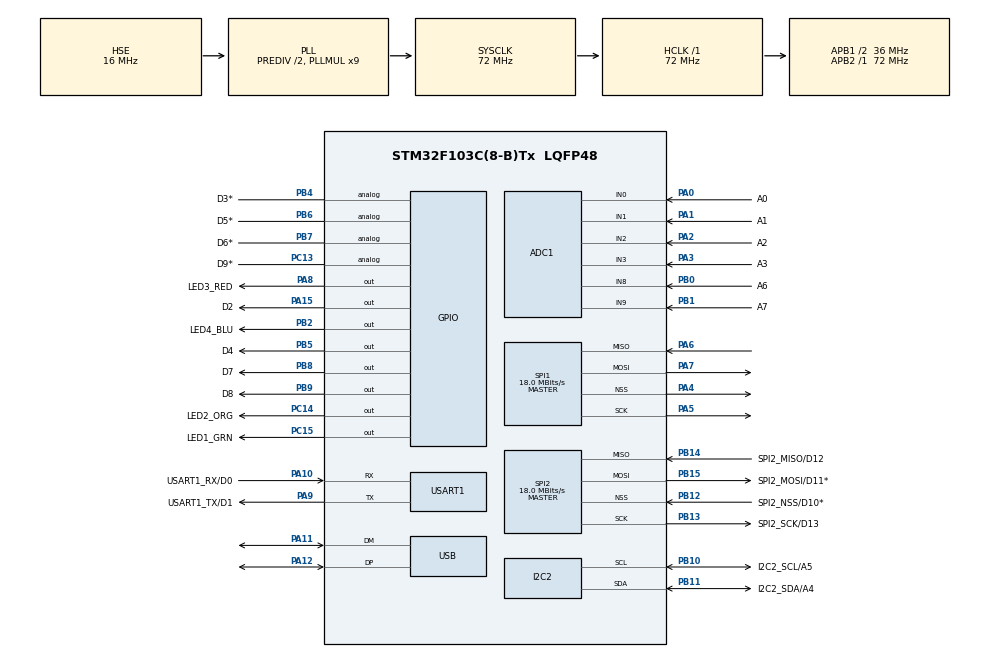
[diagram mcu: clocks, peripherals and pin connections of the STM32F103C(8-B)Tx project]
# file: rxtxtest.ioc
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ADC1.Channel-3\#ChannelRegularConversion=ADC_CHANNEL_0
ADC1.NbrOfConversionFlag=1
ADC1.Rank-3\#ChannelRegularConversion=1
ADC1.SamplingTime-3\#ChannelRegularConversion=ADC_SAMPLETIME_1CYCLE_5
ADC1.master=1
Mcu.Family=STM32F1
Mcu.Name=STM32F103C(8-B)Tx
Mcu.Package=LQFP48
NVIC.PriorityGroup=NVIC_PRIORITYGROUP_4
PA0-WKUP.GPIO_Label=A0
PA0-WKUP.Signal=ADCx_IN0
PA1.GPIO_Label=A1
PA1.Signal=ADCx_IN1
PA10.GPIO_Label=USART1_RX/D0
PA10.Mode=Asynchronous
PA10.Signal=USART1_RX
PA11.Mode=Device
PA11.Signal=USB_DM
PA12.Mode=Device
PA12.Signal=USB_DP
PA13.Mode=Trace_Asynchronous_SW
PA13.Signal=SYS_JTMS-SWDIO
PA14.Mode=Trace_Asynchronous_SW
PA14.Signal=SYS_JTCK-SWCLK
PA15.GPIO_Label=D2
PA15.Signal=GPIO_Output
PA2.GPIO_Label=A2
PA2.Signal=ADCx_IN2
PA3.GPIO_Label=A3
PA3.Signal=ADCx_IN3
PA4.Mode=NSS_Signal_Hard_Output
PA4.Signal=SPI1_NSS
PA5.Mode=Full_Duplex_Master
PA5.Signal=SPI1_SCK
PA6.Mode=Full_Duplex_Master
PA6.Signal=SPI1_MISO
PA7.Mode=Full_Duplex_Master
PA7.Signal=SPI1_MOSI
PA8.GPIO_Label=LED3_RED
PA8.Signal=GPIO_Output
PA9.GPIO_Label=USART1_TX/D1
PA9.Mode=Asynchronous
PA9.Signal=USART1_TX
PB0.GPIO_Label=A6
PB0.Signal=ADCx_IN8
PB1.GPIO_Label=A7
PB1.Signal=ADCx_IN9
PB10.GPIO_Label=I2C2_SCL/A5
PB10.Mode=I2C
PB10.Signal=I2C2_SCL
PB11.GPIO_Label=I2C2_SDA/A4
PB11.Mode=I2C
PB11.Signal=I2C2_SDA
PB12.GPIO_Label=SPI2_NSS/D10*
PB12.Mode=NSS_Signal_Hard_Input
PB12.Signal=SPI2_NSS
PB13.GPIO_Label=SPI2_SCK/D13
PB13.Mode=Full_Duplex_Master
PB13.Signal=SPI2_SCK
PB14.GPIO_Label=SPI2_MISO/D12
PB14.Mode=Full_Duplex_Master
PB14.Signal=SPI2_MISO
PB15.GPIO_Label=SPI2_MOSI/D11*
PB15.Mode=Full_Duplex_Master
PB15.Signal=SPI2_MOSI
PB2.GPIO_Label=LED4_BLU
PB2.Signal=GPIO_Output
PB3.Mode=Trace_Asynchronous_SW
PB3.Signal=SYS_JTDO-TRACESWO
PB4.GPIO_Label=D3*
PB4.Signal=GPIO_Analog
PB5.GPIO_Label=D4
PB5.Signal=GPIO_Output
PB6.GPIO_Label=D5*
PB6.Signal=GPIO_Analog
PB7.GPIO_Label=D6*
PB7.Signal=GPIO_Analog
PB8.GPIO_Label=D7
PB8.Signal=GPIO_Output
PB9.GPIO_Label=D8
PB9.Signal=GPIO_Output
PC13-TAMPER-RTC.GPIO_Label=D9*
PC13-TAMPER-RTC.Signal=GPIO_Analog
PC14-OSC32_IN.GPIO_Label=LED2_ORG
PC14-OSC32_IN.Signal=GPIO_Output
PC15-OSC32_OUT.GPIO_Label=LED1_GRN
PC15-OSC32_OUT.Signal=GPIO_Output
PD0-OSC_IN.Mode=HSE-External-Oscillator
PD0-OSC_IN.Signal=RCC_OSC_IN
PD1-OSC_OUT.Mode=HSE-External-Oscillator
PD1-OSC_OUT.Signal=RCC_OSC_OUT
ProjectManager.HeapSize=0x200
ProjectManager.StackSize=0x400
ProjectManager.TargetToolchain=STM32CubeIDE
RCC.ADCPresc=RCC_ADCPCLK2_DIV6
RCC.AHBFreq_Value=72000000
RCC.APB1CLKDivider=RCC_HCLK_DIV2
RCC.APB1Freq_Value=36000000
RCC.APB1TimFreq_Value=72000000
RCC.APB2Freq_Value=72000000
RCC.APB2TimFreq_Value=72000000
RCC.HCLKFreq_Value=72000000
RCC.HSEDivPLL=RCC_HSE_PREDIV_DIV2
RCC.HSE_VALUE=16000000
RCC.PLLMUL=RCC_PLL_MUL9
RCC.PLLSourceVirtual=RCC_PLLSOURCE_HSE
RCC.SYSCLKFreq_VALUE=72000000
RCC.SYSCLKSource=RCC_SYSCLKSOURCE_PLLCLK
RCC.USBFreq_Value=48000000
RCC.USBPrescaler=RCC_USBCLKSOURCE_PLL_DIV1_5
SH.ADCx_IN0.0=ADC1_IN0,IN0
SH.ADCx_IN1.0=ADC1_IN1,IN1
SH.ADCx_IN2.0=ADC1_IN2,IN2
SH.ADCx_IN3.0=ADC1_IN3,IN3
SH.ADCx_IN8.0=ADC1_IN8,IN8
SH.ADCx_IN9.0=ADC1_IN9,IN9
SPI1.BaudRatePrescaler=SPI_BAUDRATEPRESCALER_4
SPI1.CalculateBaudRate=18.0 MBits/s
SPI1.Direction=SPI_DIRECTION_2LINES
SPI1.Mode=SPI_MODE_MASTER
SPI1.VirtualNSS=VM_NSSHARD
SPI1.VirtualType=VM_MASTER
SPI2.CalculateBaudRate=18.0 MBits/s
SPI2.Direction=SPI_DIRECTION_2LINES
SPI2.Mode=SPI_MODE_MASTER
SPI2.VirtualNSS=VM_NSSHARD
SPI2.VirtualType=VM_MASTER
USART1.VirtualMode=VM_ASYNC
VP_ADC1_TempSens_Input.Mode=IN-TempSens
VP_ADC1_Vref_Input.Mode=IN-Vrefint
board=custom

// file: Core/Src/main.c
/* USER CODE BEGIN Header */
/**
  ******************************************************************************
  * @file           : main.c
  * @brief          : Main program body
  ******************************************************************************
  * @attention
  *
  * Copyright (c) 2023 STMicroelectronics.
  * All rights reserved.
  *
  * This software is licensed under terms that can be found in the LICENSE file
  * in the root directory of this software component.
  * If no LICENSE file comes with this software, it is provided AS-IS.
  *
  ******************************************************************************
  */
/* USER CODE END Header */
#include "main.h"
#include "adc.h"
#include "i2c.h"
#include "spi.h"
#include "usart.h"
#include "usb.h"
#include "gpio.h"

void SystemClock_Config(void);

int main(void)
{
  /* USER CODE BEGIN 1 */
  DBG=Debugger_create(0);
  /* USER CODE END 1 */

  /* MCU Configuration--------------------------------------------------------*/

  /* Reset of all peripherals, Initializes the Flash interface and the Systick. */
  HAL_Init();

  /* Configure the system clock */
  SystemClock_Config();

  /* Initialize all configured peripherals */
  MX_GPIO_Init();
  MX_ADC1_Init();
  MX_SPI2_Init();
  MX_USART1_UART_Init();
  MX_USB_PCD_Init();
  MX_SPI1_Init();
  MX_I2C2_Init();
  /* USER CODE BEGIN 2 */

    HAL_GPIO_WritePin(LED1_GRN_GPIO_Port,LED1_GRN_Pin,GPIO_PIN_SET);
    HAL_GPIO_WritePin(LED2_ORG_GPIO_Port,LED2_ORG_Pin,GPIO_PIN_SET);
    HAL_GPIO_WritePin(LED3_RED_GPIO_Port,LED3_RED_Pin,GPIO_PIN_SET);
    HAL_GPIO_WritePin(LED4_BLU_GPIO_Port,LED4_BLU_Pin,GPIO_PIN_SET);

    uint32_t tick1 = 0;
    uint32_t tick2 = 0;
    uint32_t counter = 0;
    int8_t ledDirection = 1;

  /* USER CODE END 2 */

  /* Infinite loop */
  /* USER CODE BEGIN WHILE */
  while (1)
  {
      if(HAL_GetTick() - tick1 >= 500) {
          tick1=HAL_GetTick();
          HAL_GPIO_TogglePin(LED4_BLU_GPIO_Port, LED4_BLU_Pin);
      }
      if(HAL_GetTick() - tick2 >= 500) {
          tick2=HAL_GetTick();
          uint8_t Test[] = "Hello World !!!\n"; //Data to send
          HAL_UART_Transmit(&huart1,Test,sizeof(Test),10);
      }

      /* USER CODE END WHILE */

  }
}

void SystemClock_Config(void)
{
  RCC_OscInitTypeDef RCC_OscInitStruct = {0};
  RCC_ClkInitTypeDef RCC_ClkInitStruct = {0};
  RCC_PeriphCLKInitTypeDef PeriphClkInit = {0};

  /** Initializes the RCC Oscillators according to the specified parameters
  * in the RCC_OscInitTypeDef structure.
  */
  RCC_OscInitStruct.OscillatorType = RCC_OSCILLATORTYPE_HSE;
  RCC_OscInitStruct.HSEState = RCC_HSE_ON;
  RCC_OscInitStruct.HSEPredivValue = RCC_HSE_PREDIV_DIV2;
  RCC_OscInitStruct.HSIState = RCC_HSI_ON;
  RCC_OscInitStruct.PLL.PLLState = RCC_PLL_ON;
  RCC_OscInitStruct.PLL.PLLSource = RCC_PLLSOURCE_HSE;
  RCC_OscInitStruct.PLL.PLLMUL = RCC_PLL_MUL9;
  if (HAL_RCC_OscConfig(&RCC_OscInitStruct) != HAL_OK)
  {
    Error_Handler();
  }

  /** Initializes the CPU, AHB and APB buses clocks
  */
  RCC_ClkInitStruct.ClockType = RCC_CLOCKTYPE_HCLK|RCC_CLOCKTYPE_SYSCLK
                              |RCC_CLOCKTYPE_PCLK1|RCC_CLOCKTYPE_PCLK2;
  RCC_ClkInitStruct.SYSCLKSource = RCC_SYSCLKSOURCE_PLLCLK;
  RCC_ClkInitStruct.AHBCLKDivider = RCC_SYSCLK_DIV1;
  RCC_ClkInitStruct.APB1CLKDivider = RCC_HCLK_DIV2;
  RCC_ClkInitStruct.APB2CLKDivider = RCC_HCLK_DIV1;

  if (HAL_RCC_ClockConfig(&RCC_ClkInitStruct, FLASH_LATENCY_2) != HAL_OK)
  {
    Error_Handler();
  }
  PeriphClkInit.PeriphClockSelection = RCC_PERIPHCLK_ADC|RCC_PERIPHCLK_USB;
  PeriphClkInit.AdcClockSelection = RCC_ADCPCLK2_DIV6;
  PeriphClkInit.UsbClockSelection = RCC_USBCLKSOURCE_PLL_DIV1_5;
  if (HAL_RCCEx_PeriphCLKConfig(&PeriphClkInit) != HAL_OK)
  {
    Error_Handler();
  }
}

void Error_Handler(void)
{
  __disable_irq();
  while (1)
  {
  }
}
